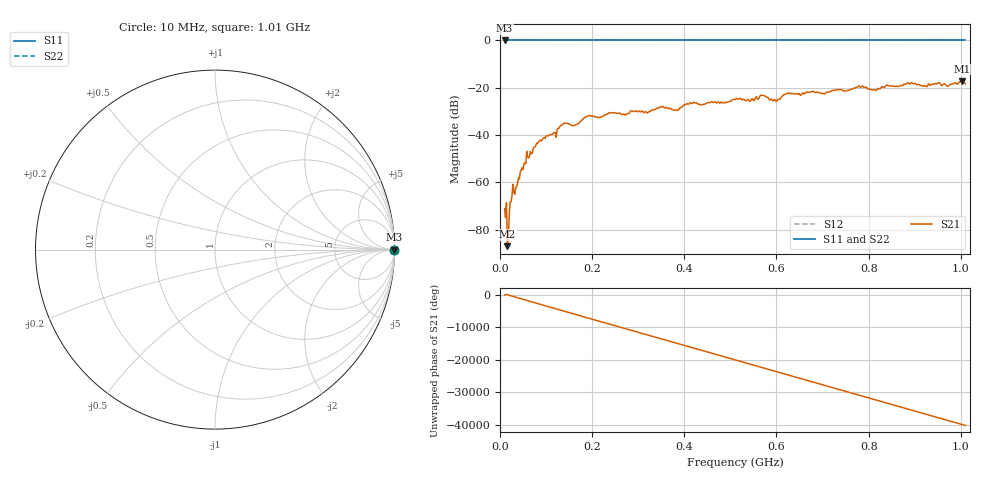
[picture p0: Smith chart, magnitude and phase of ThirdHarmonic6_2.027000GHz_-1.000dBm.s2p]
! 8/17/2025 12:19:41 AM
! C:\ANRITSUVNA\TEMP\TEMP.S2P
! CHANNEL.1
! TR.MEASUREMENT
! RAW.DATA
! RF.CORRECTION.OFF
! AVERAGING.OFF
! IF.BANDWIDTH: 5KHZ
! SWEEPTYPE:  FREQ.SWEEP(Linear)
! Reference Plane Port Info
! PORT:  PORT1  PORT2
! DISTANCE:  0  m  0  m
! TIME:  0  s  0  s
! PHASE.OFFSET:  0  deg.  0  deg.
! LOSS:  0  dB  0  dB
! REF.LOSS:  0  dB  0  dB
! REF.FREQ:  0  Hz  0  Hz
! Power Info
! POWER:  -20  dBm  -20  dBm
! EFF.POWER:  -20  dBm  -20  dBm
! SOURCE.ATTEN:  0  dB  0  dB
! TEST.ATTEN:  0  dB  0  dB
# GHZ S RI R 50.0
! FREQ.GHZ  S11RE  S11IM  S21RE  S21IM  S12RE  S12IM  S22RE  S22IM
!; PortSelection: Port_12
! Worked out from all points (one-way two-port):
!   501 points, 10 MHz to 1.01 GHz, reference 50 ohm
!   highest |S21| = -17.11 dB at 1.002 GHz (marker M1); lowest = -87.0 dB at 16 MHz (marker M2)
!   lowest |S11| = 0.0 dB at 10 MHz (marker M3)
!   |S11| at or under -10 dB: nowhere
!   |S22| runs from 0.0 to 0.0 dB; largest |S21 - S12| = 1.1
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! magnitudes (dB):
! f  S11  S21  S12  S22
! 10 MHz  0.0  -71.2  0.0  0.0
! 16 MHz  0.0  -87.0  0.0  0.0
! 20 MHz  0.0  -74.0  0.0  0.0
! 26 MHz  0.0  -65.9  0.0  0.0
! 34 MHz  0.0  -62.3  0.0  0.0
! 44 MHz  0.0  -55.6  0.0  0.0
! 56 MHz  0.0  -52.1  0.0  0.0
! 76 MHz  0.0  -45.0  0.0  0.0
! 136 MHz  0.0  -35.5  0.0  0.0
! 160 MHz  0.0  -36.0  0.0  0.0
! 178 MHz  0.0  -33.6  0.0  0.0
! 344 MHz  0.0  -28.6  0.0  0.0
! 382 MHz  0.0  -29.4  0.0  0.0
! 416 MHz  0.0  -26.7  0.0  0.0
! 510 MHz  0.0  -25.0  0.0  0.0
! 570 MHz  0.0  -23.2  0.0  0.0
! 596 MHz  0.0  -24.9  0.0  0.0
! 624 MHz  0.0  -22.4  0.0  0.0
! 678 MHz  0.0  -21.5  0.0  0.0
! 844 MHz  0.0  -19.1  0.0  0.0
! 1.002 GHz  0.0  -17.1  0.0  0.0
! 1.01 GHz  0.0  -18.3  0.0  0.0
